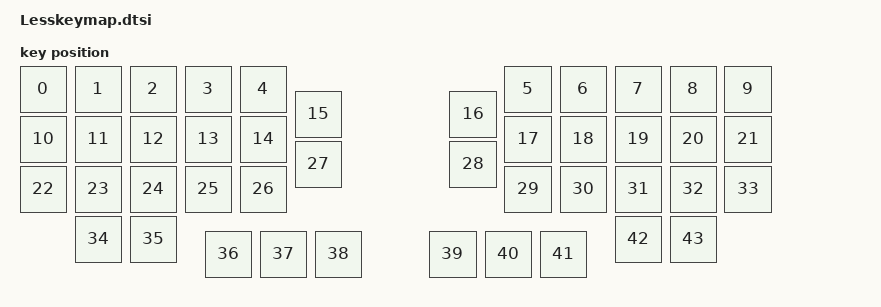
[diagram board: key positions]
#include <physical_layouts.dtsi>

/ {
    physical_layout0: physical_layout_0 {
        compatible = "zmk,physical-layout";
        display-name = "Default";

        kscan = <&kscan0>;
        transform = <&matrix_transform0>;

        keys  //                     w   h    x    y     rot    rx    ry
            = <&key_physical_attrs 100 100    0    0       0     0     0>
            , <&key_physical_attrs 100 100  110    0       0     0     0>
            , <&key_physical_attrs 100 100  220    0       0     0     0>
            , <&key_physical_attrs 100 100  330    0       0     0     0>
            , <&key_physical_attrs 100 100  440    0       0     0     0>
            , <&key_physical_attrs 100 100  970    0       0     0     0>
            , <&key_physical_attrs 100 100 1080    0       0     0     0>
            , <&key_physical_attrs 100 100 1190    0       0     0     0>
            , <&key_physical_attrs 100 100 1300    0       0     0     0>
            , <&key_physical_attrs 100 100 1410    0       0     0     0>
            , <&key_physical_attrs 100 100    0  100       0     0     0>
            , <&key_physical_attrs 100 100  110  100       0     0     0>
            , <&key_physical_attrs 100 100  220  100       0     0     0>
            , <&key_physical_attrs 100 100  330  100       0     0     0>
            , <&key_physical_attrs 100 100  440  100       0     0     0>
            , <&key_physical_attrs 100 100  550   50       0     0     0>
            , <&key_physical_attrs 100 100  860   50       0     0     0>
            , <&key_physical_attrs 100 100  970  100       0     0     0>
            , <&key_physical_attrs 100 100 1080  100       0     0     0>
            , <&key_physical_attrs 100 100 1190  100       0     0     0>
            , <&key_physical_attrs 100 100 1300  100       0     0     0>
            , <&key_physical_attrs 100 100 1410  100       0     0     0>
            , <&key_physical_attrs 100 100    0  200       0     0     0>
            , <&key_physical_attrs 100 100  110  200       0     0     0>
            , <&key_physical_attrs 100 100  220  200       0     0     0>
            , <&key_physical_attrs 100 100  330  200       0     0     0>
            , <&key_physical_attrs 100 100  440  200       0     0     0>
            , <&key_physical_attrs 100 100  550  150       0     0     0>
            , <&key_physical_attrs 100 100  860  150       0     0     0>
            , <&key_physical_attrs 100 100  970  200       0     0     0>
            , <&key_physical_attrs 100 100 1080  200       0     0     0>
            , <&key_physical_attrs 100 100 1190  200       0     0     0>
            , <&key_physical_attrs 100 100 1300  200       0     0     0>
            , <&key_physical_attrs 100 100 1410  200       0     0     0>
            , <&key_physical_attrs 100 100  110  300       0     0     0>
            , <&key_physical_attrs 100 100  220  300       0     0     0>
            , <&key_physical_attrs 100 100  370  330       0     0     0>
            , <&key_physical_attrs 100 100  480  330       0     0     0>
            , <&key_physical_attrs 100 100  590  330       0     0     0>
            , <&key_physical_attrs 100 100  820  330       0     0     0>
            , <&key_physical_attrs 100 100  930  330       0     0     0>
            , <&key_physical_attrs 100 100 1040  330       0     0     0>
            , <&key_physical_attrs 100 100 1190  300       0     0     0>
            , <&key_physical_attrs 100 100 1300  300       0     0     0>
            ;
    };
};
